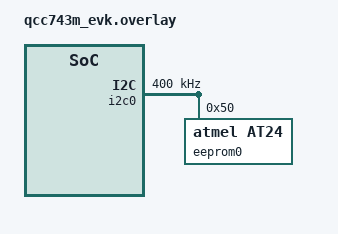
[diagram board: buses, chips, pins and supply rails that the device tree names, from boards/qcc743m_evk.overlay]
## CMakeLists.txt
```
# Copyright (c) 2026 Qualcomm Technologies, Inc. and/or its subsidiaries
# SPDX-License-Identifier: BSD-3-Clause

cmake_minimum_required(VERSION 3.20.0)

find_package(Zephyr REQUIRED HINTS $ENV{ZEPHYR_BASE})
project(i2c_eeprom)

FILE(GLOB app_sources src/*.c)
target_sources(app PRIVATE ${app_sources})
```

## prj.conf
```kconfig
# Copyright (c) 2026 Qualcomm Technologies, Inc. and/or its subsidiaries
# SPDX-License-Identifier: BSD-3-Clause

CONFIG_ZTEST=y
CONFIG_I2C=y
CONFIG_EEPROM=y
CONFIG_ENTROPY_GENERATOR=y
```

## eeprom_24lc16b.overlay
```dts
/*
 * Copyright (c) 2026 Qualcomm Technologies, Inc. and/or its subsidiaries
 * SPDX-License-Identifier: BSD-3-Clause
 */

/* Parameters for 24LC16B-I/P (https://www.microchipdirect.com/product/24LC16B-I/P).
 * Can be taken in use e.g. by EXTRA_DTC_OVERLAY_FILE=some_other.overlay;eeprom_24lc16b.overlay. */
&eeprom0 {
	compatible = "atmel,at24";
	size = <DT_SIZE_K(2)>;
	pagesize = <16>;
	address-width = <8>;
	timeout = <5>;
};
```

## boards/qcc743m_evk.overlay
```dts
/*
 * Copyright (c) 2026 Qualcomm Technologies, Inc. and/or its subsidiaries
 * SPDX-License-Identifier: BSD-3-Clause
 */

/ {

	aliases {
		eeprom0 = &eeprom0;
	};

	chosen {
		zephyr,eeprom = &eeprom0;
	};
};

&pinctrl {
	status = "okay";
	i2c0_default: i2c0_default {
		group1 {
			pinmux = <GPIO30_I2C0_SCL>,
				 <GPIO29_I2C0_SDA>;
			bias-pull-up;
			drive-strength = <1>;
			input-schmitt-enable;
			input-enable;
		};
	};
};

&i2c0 {
	status = "okay";
	clock-frequency = <I2C_BITRATE_FAST>;
	pinctrl-0 = <&i2c0_default>;
	pinctrl-names = "default";
	eeprom0: eeprom@50 {
		compatible = "atmel,at24";
		reg = <0x50>;
		status = "okay";
		size = <DT_SIZE_K(32)>;
		pagesize = <64>;
		address-width = <16>;
		timeout = <5>;
	};
};
```

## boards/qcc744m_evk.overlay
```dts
/*
 * Copyright (c) 2026 Qualcomm Technologies, Inc. and/or its subsidiaries
 * SPDX-License-Identifier: BSD-3-Clause
 */

/ {

	aliases {
		eeprom0 = &eeprom0;
	};

	chosen {
		zephyr,eeprom = &eeprom0;
	};
};

&pinctrl {
	status = "okay";
	i2c1_default: i2c1_default {
		group1 {
			pinmux = <GPIO18_I2C1_SCL>,
				 <GPIO19_I2C1_SDA>;
			bias-pull-up;
			drive-strength = <1>;
			input-schmitt-enable;
			input-enable;
		};
	};
};

&i2c1 {
	status = "okay";
	clock-frequency = <I2C_BITRATE_FAST>;
	pinctrl-0 = <&i2c1_default>;
	pinctrl-names = "default";
	eeprom0: eeprom@50 {
		compatible = "atmel,at24";
		reg = <0x50>;
		status = "okay";
		size = <DT_SIZE_K(32)>;
		pagesize = <64>;
		address-width = <16>;
		timeout = <5>;
	};
};
```

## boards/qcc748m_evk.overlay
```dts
/*
 * Copyright (c) 2026 Qualcomm Technologies, Inc. and/or its subsidiaries
 * SPDX-License-Identifier: BSD-3-Clause
 */

/ {

	aliases {
		eeprom0 = &eeprom0;
	};

	chosen {
		zephyr,eeprom = &eeprom0;
	};
};

&pinctrl {
	status = "okay";
	i2c1_default: i2c1_default {
		group1 {
			pinmux = <I2C1_SCL_GPIO18>,
				 <I2C1_SDA_GPIO19>;
			bias-pull-up;
			drive-strength = <1>;
			input-schmitt-enable;
			input-enable;
		};
	};
};

&i2c1 {
	status = "okay";
	clock-frequency = <I2C_BITRATE_FAST>;
	pinctrl-0 = <&i2c1_default>;
	pinctrl-names = "default";
	eeprom0: eeprom@50 {
		compatible = "atmel,at24";
		reg = <0x50>;
		status = "okay";
		size = <DT_SIZE_K(32)>;
		pagesize = <64>;
		address-width = <16>;
		timeout = <5>;
	};
};
```

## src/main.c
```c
/*
 * Copyright (c) 2026 Qualcomm Technologies, Inc. and/or its subsidiaries
 * SPDX-License-Identifier: Apache-2.0
 */

#include <zephyr/device.h>
#include <zephyr/devicetree.h>
#include <zephyr/drivers/eeprom.h>
#include <zephyr/random/random.h>
#include <zephyr/sys/util.h>
#include <zephyr/ztest.h>

#define EEPROM_NODE DT_CHOSEN(zephyr_eeprom)

#if !DT_NODE_HAS_STATUS_OKAY(EEPROM_NODE)
#error "zephyr,eeprom chosen node is missing or disabled"
#endif

#define EEPROM_PAGE_SIZE DT_PROP(EEPROM_NODE, pagesize)

static const struct device *const eeprom = DEVICE_DT_GET(EEPROM_NODE);

static uint8_t __aligned(32) write_buf[EEPROM_PAGE_SIZE];
static uint8_t __aligned(32) read_buf[EEPROM_PAGE_SIZE];

ZTEST(i2c_eeprom, test_eeprom_write_read_verify)
{
	off_t offset = 0;
	const size_t eeprom_size = eeprom_get_size(eeprom);
	const uint8_t pattern_seed = (uint8_t)sys_rand32_get();

	TC_PRINT("Pseudo-random pattern seed: %u\n", pattern_seed);

	zassert_true(eeprom_size > 0U, "EEPROM size must be > 0");

	while (offset < eeprom_size) {
		size_t chunk_size = MIN(EEPROM_PAGE_SIZE, eeprom_size - offset);

		for (size_t i = 0; i < chunk_size; i++) {
			write_buf[i] = (uint8_t)((offset + i + pattern_seed) % 256U);
		}

		zassert_ok(eeprom_write(eeprom, offset, write_buf, chunk_size),
			   "EEPROM write failed at offset %zu", (size_t)offset);
		offset += chunk_size;
	}

	offset = 0;

	while (offset < eeprom_size) {
		size_t chunk_size = MIN(EEPROM_PAGE_SIZE, eeprom_size - offset);

		zassert_ok(eeprom_read(eeprom, offset, read_buf, chunk_size),
			   "EEPROM read failed at offset %zu", (size_t)offset);

		for (size_t i = 0; i < chunk_size; i++) {
			uint8_t expected = (uint8_t)((offset + i + pattern_seed) % 256U);

			zassert_equal(read_buf[i], expected,
				      "Data mismatch at addr %zu (exp=%u got=%u)",
				      (size_t)(offset + i), expected, read_buf[i]);
		}

		offset += chunk_size;
	}

	zassert_equal(offset, eeprom_size, "Verified bytes mismatch: %zu != %zu", (size_t)offset,
		      eeprom_size);
}

static void *eeprom_test_setup(void)
{
	zassert_true(device_is_ready(eeprom), "EEPROM device is not ready");
	return NULL;
}

ZTEST_SUITE(i2c_eeprom, NULL, eeprom_test_setup, NULL, NULL, NULL);
```
